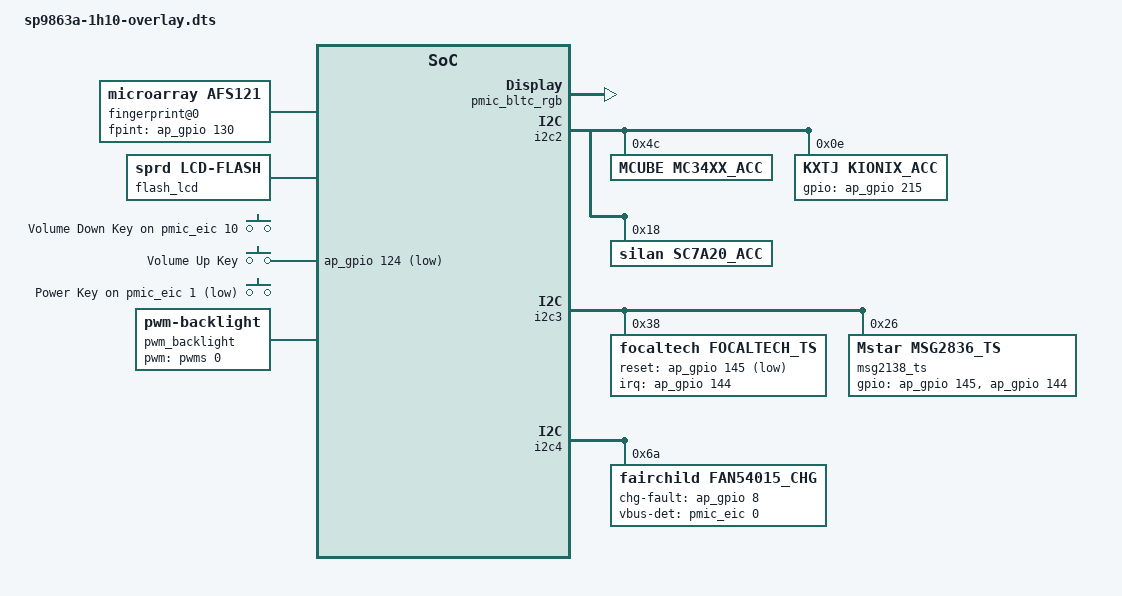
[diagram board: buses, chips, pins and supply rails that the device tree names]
/*
 * Spreadtrum sharkl3 sp9863a board DTS file
 *
 * Copyright (C) 2018, Spreadtrum Communications Inc.
 *
 * This file is licensed under a dual GPLv2 or X11 license.
 */
/dts-v1/;
/plugin/;

/ {
	/*
	* When create a new node, we should use the key word __overlay__,
	* otherwise u-boot can not analyze it.
	*/

	fragment {
		target-path = "/";
		__overlay__ {
			sprd_overlay {
				compatible = "sprd,overlay";
				string = "spreadtrum overlay test!";
			};

			fingerprint@0 {
				compatible = "microarray,afs121";
				fpint-gpios = <&ap_gpio 130 0>;
			};

			flash_lcd: flash-lcd {
				compatible = "sprd,lcd-flash";
				sprd,dispc = <&dispc0>;
				sprd,backlight = <&pwm_backlight>;
				status = "okay";
			};

			gpio-keys {
				compatible = "gpio-keys";
				input-name = "sprd-gpio-keys";
				status = "okay";

				key-volumedown {
					label = "Volume Down Key";
					linux,code = <114>;
					gpios = <&pmic_eic 10 0>;
					debounce-interval = <2>;
					gpio-key,wakeup;
					gpio-key,level-trigger;
				};

				key-volumeup {
					label = "Volume Up Key";
					linux,code = <115>;
					gpios = <&ap_gpio 124 1>;
					debounce-interval = <2>;
					gpio-key,wakeup;
					gpio-key,level-trigger;
				};

				key-power {
					label = "Power Key";
					linux,code = <116>;
					gpios = <&pmic_eic 1 1>;
					gpio-key,wakeup;
					gpio-key,level-trigger;
				};
			};

			pwm_backlight: sprd_backlight {
				compatible = "pwm-backlight";
				pwms = <&pwms 0 20000>;
				pwm-names = "backlight";
				brightness_max = <256>;
				brightness-levels = <
					3   3   3   3
				3   3   3   3   3   3   3   5   7   9
				10  11  12  13  14  15  16  17  18  19
				20  21  22  23  24  25  26  27  28  29
				30  31  32  33  34  35  36  37  38  39
				40  41  42  43  44  45  46  47  48  49
				50  51  52  53  54  55  56  57  58  59
				60  61  62  63  64  65  66  67  68  69
				70  71  72  73  74  75  76  77  78  79
				80  81  82  83  84  85  86  87  88  89
				90  91  92  93  94  95  96  97  98  99
				100 101 102 103 104 105 106 107 108 109
				110 111 112 113 114 115 116 117 118 119
				120 121 122 123 124 125 126 127 128 129
				130 131 132 133 134 135 136 137 138 139
				140 141 142 143 144 145 146 147 148 149
				150 151 152 153 154 155 156 157 158 159
				160 161 162 163 164 165 166 167 168 169
				170 171 172 173 174 175 176 177 178 179
				180 181 182 183 184 185 186 187 188 189
				190 191 192 193 194 195 196 197 198 199
				200 201 202 203 204 205 206 207 208 209
				210 211 212 213 214 215 216 217 218 219
				220 221 222 223 224 225 226 227 228 229
				230 231 232 233 234 235 236 237 238 239
				240 241 242 243 244 245 246 247 248 249
				250 251
					>;
				default-brightness-level = <102>;
			};
		};
	};
};

/*
 * Sample code. Google strongly recommends you do not use fragment@x and
 * syntax __overlay__, and instead use the reference syntax
 */
&memory {
	compatible = "sprd,memory-dtbo";
};

&pmic_bltc_rgb {
	status = "okay";
};

&i2c2 {
	status = "okay";

	mc34xx_acc@4C{
		compatible = "MCUBE,mc34xx_acc";
		reg = <0x4C>;
	};

	kionix_acc@0E{
		compatible = "KXTJ,kionix_acc";
		reg = <0x0E>;
		poll_interval = <10>;
		min_interval = <10>;
		g_range = <0>;
		accel_res = <0>;
		accel_irq_use_drdy = <0>;
		accel_direction = <7>;
		gpios = <&ap_gpio 215 0>;
	};	

    sc7a20_acc@18{
            compatible = "silan,sc7a20_acc";
            reg = <0x18>;
            poll_interval = <10>;
            min_interval = <1>;
            g_range = <0>;
            axis_map_x = <0>;
            axis_map_y = <1>;
            axis_map_z = <2>;
            negate_x = <0>;
            negate_y = <1>;
            negate_z = <1>;
    };
};

&i2c3 {
	status = "okay";
/*
	adaptive-touchscreen@38 {
		compatible = "adaptive-touchscreen";
		reg = <0x38>;
		gpios = <&ap_gpio 145 0
			&ap_gpio 144 0>;
		controller = "focaltech,FT5436";
		virtualkeys = <580 60 1320 60 45
			172 360 1320 60 45
			158 600 1320 60 45>;
		private-data {
			a8 = /bits/ 8 <0x5a>;
		};
	};
*/
		 focaltech@38 {
                compatible = "focaltech,focaltech_ts";
                reg = <0x38>;
                
                interrupt-parent = <&ap_gpio>;
        interrupts = <144 0x2>;
        focaltech,reset-gpio = <&ap_gpio 145 0x01>;
        focaltech,irq-gpio = <&ap_gpio 144 0x02>;
        focaltech,max-touch-number = <5>;
           
        focaltech,have-key;
        focaltech,key-number = <3>;

                focaltech,display-coords =  <0 0 720 1440>;
        focaltech,keys = <580 172 158>;
        focaltech,key-y-coord = <1500>;
        focaltech,key-x-coords = <80 240 400>;
        };
		msg2138_ts@26{
		status = "okay";
		compatible = "Mstar,msg2836_ts";
		reg = <0x26>;
		gpios = <&ap_gpio 145 0
				&ap_gpio 144 0>;
		vdd_name = "vdd18";
		virtualkeys = <80 900 30 30
					240 900 30 30
					400 900 30 30>;
		TP_MAX_X = <720>;
		TP_MAX_Y = <1440>;
	};
};

&i2c4 {
	fan54015_chg: charger@6a {
		compatible = "fairchild,fan54015_chg";
		reg = <0x6a>;
		chg-fault-gpios = <&ap_gpio 8 0>;
		vbus-det-gpios = <&pmic_eic 0 0>;
	};
};

&ddr_dfs {
	sprd-scene = "boost", "lcdon", "lcdoff", "camlow",
			"camhigh", "camveryhigh";
	sprd-freq = <933 311 233 400 622 933>;
};
